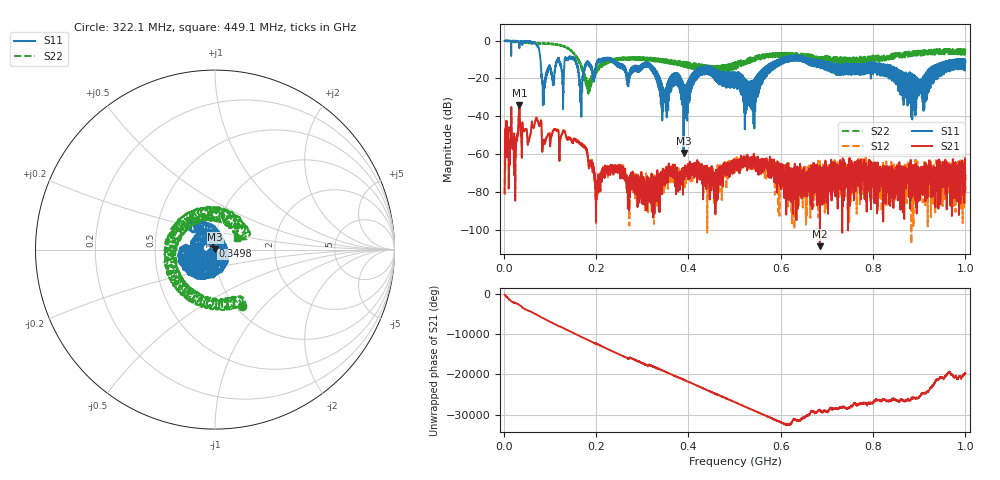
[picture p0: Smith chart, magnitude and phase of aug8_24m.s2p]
!Keysight Technologies N9923A: A.12.45
!Date: Friday, 08 August 2025 17:46:37
!Timezone: (UTC+08:00) Kuala Lumpur, Singapore
!Model: N9923A
!Serial: MY61181427
!GPS Latitude:
!GPS Longitude:
!GPS TimeStamp: 0001-01-01 00:00:00Z
!GPS Seconds Since Last Read: 0
!CHECKSUM:0505143513
!Correction: S11(ON U)S21(ON U)S12(ON U)S22(ON U)
!S2P File: Measurements:S11,S21,S12,S22:
# Hz S DB R 50
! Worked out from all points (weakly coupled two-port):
!   4001 points, 2 MHz to 1 GHz, reference 50 ohm
!   highest |S21| = -33.91 dB at 33.94 MHz (marker M1); lowest = -108.4 dB at 684.9 MHz (marker M2)
!   lowest |S11| = -59.2 dB at 389.5 MHz (marker M3), VSWR 1.00, Z = 50.1 + j0.059 ohm
!   |S11| at or under -10 dB: 155.2 MHz to 205.9 MHz (50.73 MHz wide, 28.1 % of centre); 236 MHz to 596.2 MHz (360.1 MHz wide, 86.6 % of centre); 668.9 MHz to 979.3 MHz (310.4 MHz wide, 37.7 % of centre) (the widest 3 of 85)
!   |S22| runs from -28.1 to 0.1 dB; largest |S21 - S12| = 0.0012
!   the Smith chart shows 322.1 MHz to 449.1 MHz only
!   S11 on the Smith chart (normalised r, x): 322.1 MHz: 0.80, +0.20; 349.8 MHz: 0.97, +0.04; 449.1 MHz: 0.76, -0.07
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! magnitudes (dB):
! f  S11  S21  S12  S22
! 2 MHz  -0.1  -80.3  -81.4  0.0
! 33.94 MHz  -4.0  -33.9  -33.9  -0.7
! 72.11 MHz  -2.3  -41.7  -41.5  -1.3
! 86.83 MHz  -33.7  -52.6  -52.5  -1.7
! 145.2 MHz  -8.5  -52.2  -51.5  -5.4
! 168.4 MHz  -35.6  -55.0  -54.8  -13.8
! 183.6 MHz  -11.4  -63.5  -65.3  -28.1
! 202.8 MHz  -10.5  -74.0  -76.4  -14.1
! 245 MHz  -13.5  -67.8  -67.4  -9.7
! 322.1 MHz  -16.2  -80.6  -77.6  -9.1
! 334.8 MHz  -19.2  -81.9  -76.1  -11.3
! 349.8 MHz  -32.6  -70.6  -71.2  -11.8
! 372 MHz  -17.2  -69.5  -70.8  -12.5
! 389.5 MHz  -59.2  -70.5  -67.1  -11.1
! 449.1 MHz  -17.0  -69.0  -71.2  -17.2
! 501 MHz  -16.6  -65.0  -69.5  -14.9
! 538.2 MHz  -24.1  -63.9  -63.4  -11.3
! 667.4 MHz  -10.2  -69.9  -75.0  -8.3
! 684.9 MHz  -14.3  -108.4  -64.2  -10.6
! 833.8 MHz  -18.4  -67.6  -65.8  -8.1
! 906.2 MHz  -23.3  -67.2  -70.7  -6.6
! 1 GHz  -11.5  -71.4  -81.4  -6.1
